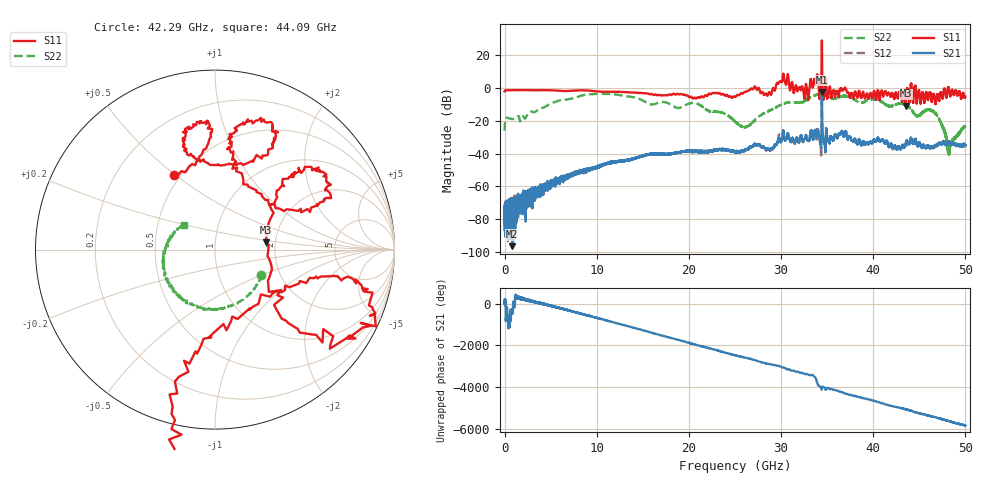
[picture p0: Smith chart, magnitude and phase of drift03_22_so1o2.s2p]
!Created with skrf (http://scikit-rf.org).
# Hz S RI R 50.0
!freq ReS11 ImS11 ReS21 ImS21 ReS12 ImS12 ReS22 ImS22
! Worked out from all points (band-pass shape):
!   10000 points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, 5.3 MHz to 50 GHz, reference 50 ohm
!   highest |S21| = -2.50 dB at 34.43 GHz (marker M1); lowest = -96.5 dB at 845.3 MHz (marker M2)
!   |S21| within 3 dB of the highest: 34.4276 GHz to 34.43484 GHz (7.234 MHz wide, 0.021 % of centre)
!   lowest |S11| = -10.9 dB at 43.52 GHz (marker M3), VSWR 1.80, Z = 88.8 + j7.97 ohm
!   |S11| at or under -10 dB: 43.49947 GHz to 43.53873 GHz (39.26 MHz wide, 0.0902 % of centre)
!   |S22| runs from -41.9 to -3.6 dB; largest |S21 - S12| = 0.24
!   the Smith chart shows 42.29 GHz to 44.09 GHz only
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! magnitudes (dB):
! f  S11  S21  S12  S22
! 5.3 MHz  -2.1  -81.6  -75.0  -26.1
! 845.3 MHz  -1.4  -96.5  -85.1  -19.0
! 3.07 GHz  -1.4  -64.4  -63.5  -14.7
! 8.34 GHz  -1.5  -50.4  -51.1  -4.7
! 16.67 GHz  -4.4  -40.2  -40.3  -9.1
! 20.72 GHz  -6.2  -38.7  -38.5  -9.3
! 25.01 GHz  -5.5  -38.9  -39.1  -20.4
! 26.23 GHz  -2.2  -37.4  -37.8  -23.7
! 28.72 GHz  -2.5  -37.7  -37.5  -14.0
! 30.14 GHz  4.4  -29.7  -29.5  -10.0
! 32.74 GHz  2.0  -29.5  -29.2  -7.3
! 33.34 GHz  2.5  -27.5  -27.7  -5.3
! 33.82 GHz  3.9  -29.0  -29.4  -4.2
! 34.43 GHz  28.9  -2.5  -4.7  -4.0
! 36.48 GHz  -0.4  -28.1  -27.9  -5.3
! 38.87 GHz  -2.4  -32.7  -32.6  -8.9
! 41.67 GHz  -3.1  -35.9  -35.6  -11.0
! 43.52 GHz  -10.9  -34.7  -34.7  -10.4
! 44.74 GHz  -9.1  -34.6  -34.4  -17.2
! 46.64 GHz  -4.8  -35.8  -35.7  -14.7
! 48.22 GHz  -0.6  -33.2  -33.2  -36.0
! 50 GHz  -5.4  -34.6  -34.6  -23.6
